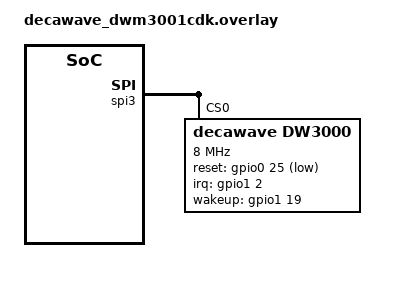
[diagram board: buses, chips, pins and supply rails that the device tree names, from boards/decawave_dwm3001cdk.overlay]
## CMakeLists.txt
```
# Satellite responder (docs/second-anchor.md stage B): the CRED-tier CCC
# ranging engine minus BLE credential auth. It is a lock that is told the
# session keys (`sat join` on the shell) instead of negotiating them, and it
# transmits Response_1 in the slot the phone reserves when the lock advertises
# ULTRAWIDELOCK_NUM_RESPONDERS=2.
#
# Same module set as the lock's ranging half, same standalone layout as
# examples/zephyr/anchor: no sysbuild bootloader, flashed over SWD, never
# updated over the air. ultrawidelock_matter is absent, and ultrawidelock_cred is present only
# as the owner of the image's primitive-provider target: this node never
# authenticates a credential.
cmake_minimum_required(VERSION 3.20.0)

get_filename_component(REPO_ROOT "${CMAKE_CURRENT_LIST_DIR}/../.." ABSOLUTE)

list(APPEND ZEPHYR_EXTRA_MODULES
	"${REPO_ROOT}/modules/ultrawidelock_cred"
	"${REPO_ROOT}/modules/ultrawidelock_uwb"
	"${REPO_ROOT}/modules/ultrawidelock_dw3000"
	"${REPO_ROOT}/modules/ultrawidelock_anchor"
	"${REPO_ROOT}/ports/zephyr")

find_package(Zephyr REQUIRED HINTS $ENV{ZEPHYR_BASE})
project(ultrawidelock_satellite)

# Same guard examples/zephyr/anchor/CMakeLists.txt carries, for the same reason:
# recovering debug access costs a mass erase, and a bench image is exactly the
# kind of thing that would inherit the setting from a stray overlay unnoticed.
if(CONFIG_NRF_APPROTECT_LOCK OR CONFIG_NRF_SECURE_APPROTECT_LOCK)
	message(FATAL_ERROR
		"APPROTECT lock is enabled for this image. Refusing to build.\n"
		"  CONFIG_NRF_APPROTECT_LOCK        = ${CONFIG_NRF_APPROTECT_LOCK}\n"
		"  CONFIG_NRF_SECURE_APPROTECT_LOCK = ${CONFIG_NRF_SECURE_APPROTECT_LOCK}\n"
		"See apps/dwm3001cdk-lock/sysbuild.conf for why these boards never lock.")
endif()

target_sources(app PRIVATE src/main.c)

# main initializes the primitive provider even without Thread, because the UWB
# responder uses it too. The credential module owns exactly one provider TU for
# the image; direct-sourcing the old combined crypto role here duplicated it.
target_link_libraries(app PRIVATE ultrawidelock_prim)
target_include_directories(app PRIVATE
	"${REPO_ROOT}/modules/ultrawidelock_cred/include")

include("${REPO_ROOT}/cmake/ultrawidelock_roles.cmake")

# The sealed link needs Thread. Without it the board still ranges and still
# prints, it simply has nobody to tell.
target_sources_ifdef(CONFIG_OPENTHREAD app PRIVATE src/anchor_link.c)

# The seal and the link decisions are both shared. seal.list is ONE AES-CCM
# envelope; link.list is the one place that decides what to send, what an
# arriving datagram is and whether to believe it -- ONE replay/counter
# implementation -- so this board, the lock and the ESP-NOW carrier cannot
# drift apart about the same bytes. Read here rather than left to the module,
# because this image is ULTRAWIDELOCK_ANCHOR_MSG without ULTRAWIDELOCK_ANCHOR
# -- it encodes a report and fuses nothing -- and the module's copies are gated
# on the ANCHOR tier this node deliberately does not have.
if(CONFIG_OPENTHREAD)
	ultrawidelock_role_sources("${REPO_ROOT}/modules/ultrawidelock_anchor/roles/seal.list" SEAL_SRCS)
	ultrawidelock_role_sources("${REPO_ROOT}/modules/ultrawidelock_anchor/roles/link.list" LINK_SRCS)
	target_sources(app PRIVATE ${SEAL_SRCS} ${LINK_SRCS})
endif()
```

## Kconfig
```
# SPDX-License-Identifier: ISC
#
# Satellite responder options.

config ULTRAWIDELOCK_ANCHOR_ROLE
	int "Which side of the door this anchor is mounted on"
	default 1
	range 1 3
	help
	  1 = inside, 2 = outside, 3 = threshold, matching
	  enum ultrawidelock_witness_role, which the sealed link's role field
	  reuses so one demultiplexer serves every peer on the port.

	  A MOUNTING FACT, and the lock reads it to decide which distance is the
	  inside one. Getting it backwards does not crash and fails no geometry
	  test -- it silently inverts the side verdict, withholding from people
	  indoors and granting to people on the doorstep.

	  Build-time here rather than provisioned: this board is screwed to one
	  side of one door, unlike the interchangeable witnesses it replaces.

source "Kconfig.zephyr"
```

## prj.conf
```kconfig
# Satellite responder: CRED-tier CCC engine, keys injected over the shell.
# The UWB and PSA halves mirror the proven configs: the tier block is the
# lock's (apps/dwm3001cdk-lock), the PSA block is examples/zephyr/nrf5340dk-initiator's
# trimmed to the one primitive the CCC key ladder uses (AES-ECB).
CONFIG_MAIN_STACK_SIZE=8192
CONFIG_SYSTEM_WORKQUEUE_STACK_SIZE=8192
CONFIG_STDOUT_CONSOLE=y

# The M1-M4 codec and the cherry shim allocate via qmalloc -> k_malloc.
CONFIG_HEAP_MEM_POOL_SIZE=8192

# --- UWB: the full responder tier --------------------------------------------
# Unlike the initiator example, this board wants exactly the lock's role: the
# whole CCC/credential session engine (ccc_shim_rx and friends). The keys come
# from `sat join` instead of BLE, through the same ultrawidelock_uwb_start_cred()
# entry the credential M4 uses.
CONFIG_ULTRAWIDELOCK_UWB=y
CONFIG_ULTRAWIDELOCK_UWB_RESPONDER=y
CONFIG_ULTRAWIDELOCK_CRED=y

# Stage B re-run: this build is responder 1 of a 2-responder round, answering
# Response_1 in slot 3. The first attempt concluded the phone would not report a
# second responder, but that run was made with a 64-byte SP0 stash against a
# 65-byte two-record Final_Data, so any block where the phone DID report both
# was discarded before the decode. Both values must match the lock image or the
# RangingConfiguration SaltedHash diverges and nothing decodes.
CONFIG_ULTRAWIDELOCK_NUM_RESPONDERS=2
CONFIG_ULTRAWIDELOCK_RESPONDER_INDEX=1

# Mandatory here, not optional: on a silent block this anchor has no Response TX
# timestamp for the round, and the live-recompute path (the dual-core nRF5340
# default) would pair a stale t3 with this round's t2/t6 and latch a garbage
# distance, resetting the layer-4 trust run every second block. The snapshot
# path is consume-once and fails closed instead, which is exactly what
# alternation needs — and is the path the lock has always run.
CONFIG_ULTRAWIDELOCK_UWB_FINAL_SNAPSHOT=y

# The `ultrawidelock` console drives the driver, which is not brought up until the
# first `sat join`; keep it out the way the CDK does.
CONFIG_ULTRAWIDELOCK_UWB_SHELL=n

# DW3110 on the DWM3000EVB is the DW3000 branch; same lines and reasons as
# examples/zephyr/nrf5340dk-initiator/prj.conf:45-59.
CONFIG_DW3000=y
CONFIG_DW3000_CHIP_DW3000=y
CONFIG_SPI_ASYNC=y

CONFIG_LOG=y
CONFIG_LOG_MODE_DEFERRED=y
CONFIG_LOG_BUFFER_SIZE=4096

# Measurement output must not share a wire with the shell. The board default
# puts zephyr,console and zephyr,shell-uart both on uart0, and the shell redraws
# its prompt around every asynchronous write. Grepping fragments out of that was
# survivable for a yes/no answer like stage B's nresp=2, but not for a line that
# has to parse whole -- "pair sid=7e 206 cm (gNALDATA-2RE" is two different lines
# wearing each other's bytes, and no parser recovers that.
#
# CONFIG_RTT_CONSOLE is NOT the answer, though it looks like it and builds
# cleanly. printk cannot be steered away here at all: the shell's serial
# backend installs itself as the printk hook, so printk follows the shell to the
# UART no matter what zephyr,console says. Setting RTT_CONSOLE looked correct,
# built correctly, and changed nothing -- the pair lines stayed on the UART,
# still interleaved with the prompt.
#
# The LOGGING subsystem has its own backend, independent of both. So the
# measurement line goes through LOG_INF to RTT, the shell keeps the UART for
# `sat join`, and neither writes over the other.
CONFIG_USE_SEGGER_RTT=y
CONFIG_LOG_BACKEND_RTT=y
# Otherwise the same records also go out through the shell, back onto the UART,
# which is the interleaving this is meant to escape.
CONFIG_SHELL_LOG_BACKEND=n

# Key injection happens on the UART shell (DK VCOM): paste the SAT-HANDOFF
# line the lock prints. First light stays on this wire so radio coexistence
# cannot masquerade as protocol failure (docs/second-anchor.md, risks).
CONFIG_SHELL=y

# HERE, not in overlay-thread.conf, because the command that needs it exists in
# both builds. `sat dataset` overflows the default 2 KB shell stack and takes
# the board down with "ZEPHYR FATAL ERROR 2: Stack overflow ... Current thread:
# shell_uart" (or shell_rtt). It is stack-hungry by nature: a 254-byte buffer in
# the handler, a ~255-byte otOperationalDatasetTlvs below it, then the whole
# OpenThread start path on top. Living only in the Thread overlay left the plain
# build still crashing on the identical command.
CONFIG_SHELL_STACK_SIZE=8192

# A pasted `sat dataset` line is 226 characters and the RX ring defaults to 64,
# so the line arrives truncated and the shell reports a parameter-count error
# against a command nobody typed. The Thread overlay raises RTT's down-buffer
# for the same reason; both transports need their own landing pad.
CONFIG_SHELL_BACKEND_SERIAL_RX_RING_BUFFER_SIZE=512

# The sealed link: the WV3 codec (no picker, no witness ingest -- see
# ULTRAWIDELOCK_ANCHOR_MSG) plus somewhere to keep the link key across a reflash.
CONFIG_ULTRAWIDELOCK_ANCHOR_MSG=y
CONFIG_SETTINGS=y
CONFIG_SETTINGS_NVS=y
CONFIG_NVS=y
CONFIG_FLASH=y
CONFIG_FLASH_MAP=y

# --- PSA crypto ---------------------------------------------------------------
CONFIG_NRF_SECURITY=y
CONFIG_MBEDTLS_PSA_CRYPTO_C=y

# PSA working buffers come from the mbedTLS heap; without it psa_import_key
# fails with -141 (PSA_ERROR_INSUFFICIENT_MEMORY).
CONFIG_MBEDTLS_ENABLE_HEAP=y
CONFIG_MBEDTLS_HEAP_SIZE=16384

# The CCC key schedule reaches AES-ECB through the shared primitive provider.
# Without ECB_NO_PADDING it fails
# at RUNTIME with NOT_SUPPORTED, not at build (initiator prj.conf:126-132).
CONFIG_PSA_WANT_KEY_TYPE_AES=y
CONFIG_PSA_WANT_ALG_ECB_NO_PADDING=y
CONFIG_PSA_WANT_GENERATE_RANDOM=y
```

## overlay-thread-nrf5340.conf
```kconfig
# nRF5340-only Thread settings, layered on overlay-thread.conf by
# mk/satellite.mk when SAT_BOARD names that board. Split out for stage E
# (docs/second-anchor.md): the satellite now also builds for the DWM3001CDK,
# and both lines below describe a two-core part, so on the CDK's single-core
# nRF52833 they configure a radio peer that does not exist.
#
# This file is the app-core half. The net-core image itself is the other half,
# selected by sysbuild-thread.conf, and the two are passed together or not at
# all -- a serialisation host with no controller behind it comes up cleanly and
# then never sees a frame, which is the failure that reads as a dead radio.
#
# The nRF5340's 802.15.4 radio lives on the NETWORK core, unlike the
# DWM3001CDK's nRF52833 where it is on-core. The app core reaches it through
# the serialisation host.
CONFIG_NRF_802154_SER_HOST=y
```

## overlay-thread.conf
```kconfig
# Thread on the satellite, so its ranges can reach the lock over the sealed
# link. OPT-IN, via `make sat-build SAT_THREAD=1`, and deliberately so: the
# ranging arm margin measured without it is the number this config has to be
# judged against, and that comparison is impossible if there is only one build.
#
# STANDALONE OpenThread, mirroring apps/dwm3001cdk-lock/overlay-thread.conf: no
# NET_L2_OPENTHREAD, so no NETWORKING, no NET_IPV6, no NET_UDP and no
# NET_SOCKETS. witness_link.c already talks to otUdpOpen/otUdpBind directly, so
# the L2 would be carrying a Zephyr socket API nothing on this path uses.
CONFIG_OPENTHREAD=y
CONFIG_OPENTHREAD_MTD=y
CONFIG_OPENTHREAD_MANUAL_START=y

# MED, not SED. CONFIG_OPENTHREAD_MTD_SED is deliberately NOT set.
#
# CORRECTED 2026-08-21: an earlier version of this comment argued a 500 ms poll
# period would land every report three blocks late. That is wrong, and the
# reasoning was borrowed from the retired BLE witness anyway. A sleepy child's
# poll period gates DOWNLINK -- when it collects what its parent is holding for
# it -- and a sleepy child transmits uplink whenever it likes. Reports would not
# have been delayed by it at all.
#
# MED is still the right choice, for the smaller reason: anything the LOCK ever
# needs to send this board -- a challenge, a rekey, the session handoff once it
# moves off the UART -- waits a poll period on an SED. This board is
# mains-powered and has no BLE duty to schedule around, so there is nothing to
# buy with the sleep.

# WHERE THE RADIO IS is the one Thread setting that does NOT belong in this
# file, and it used to live here (CONFIG_NRF_802154_SER_HOST=y, plus the
# net-core image in sysbuild-thread.conf). The nRF5340 is two cores and reaches
# its 802.15.4 radio through the serialisation host; the DWM3001CDK's nRF52833
# is one core with the radio on it, and the serialisation host there is a driver
# for a peer that does not exist. Both moved to overlay-thread-nrf5340.conf,
# which mk/satellite.mk layers on top of this file for that board only. The CDK
# needs no fragment of its own -- everything above is what it wants already,
# which is the same standalone-OpenThread config apps/dwm3001cdk-lock runs on
# this exact part.
#
# Everything in THIS file must hold for every board the satellite is built for.
# A board-specific line here is one the other board silently inherits.

# OpenThread's own thread plus the workqueue it defers onto. Same sizes the
# lock runs, which is the only place these have been exercised.
CONFIG_OPENTHREAD_THREAD_STACK_SIZE=4096
CONFIG_SYSTEM_WORKQUEUE_STACK_SIZE=8192
CONFIG_MAIN_STACK_SIZE=8192

# The shell STAYS. Unlike the lock, this board still needs `sat join` to receive
# its session keys, and until the handoff itself moves onto the sealed link a
# console is the only way they arrive.
#
# RTT IS ADDED, THE UART IS NOT REMOVED. An earlier version of this file set
# CONFIG_SHELL_BACKEND_SERIAL=n, which is why the UART then looked dead: it was
# dead, by configuration, and this comment blamed the board for it. The two
# backends are independent bools, not a choice, so both run.
#
# Why RTT is here at all: it is the transport that still prints a fault dump
# when the shell thread itself is what died. Two real defects that day -- an
# OpenThread mutex deadlock and a shell stack overflow -- both present as "the
# console stopped answering", and with CONFIG_SHELL_LOG_BACKEND=y every log
# record rides the shell, so a dead shell thread silences the board on whatever
# single transport it owns. Two backends means one can report the other's death.
#
# WHAT IS NOT TRUE, corrected the same day: hardware flow control was blamed for
# the silence. Flow control is OFF on this board, both ends. The board DTS sets
# no `hw-flow-control` on &uart0, so the driver runs NRF_UARTE_HWFC_DISABLED and
# the UARTE ignores CTS entirely; all pinctrl leaves behind is RTS on P0.19
# driven high once at init, which is harmless. Board TX was never gated. The
# apps/nrf5340dk-lock Matter image drives the identical peripheral and pins with
# no console overlay at all and its shell works, which settles it.
CONFIG_SHELL_BACKEND_SERIAL=y
CONFIG_SHELL_BACKEND_RTT=y
CONFIG_SHELL_LOG_BACKEND=y
CONFIG_LOG_BACKEND_RTT=n
# The default 10 ms poll is what makes an RTT shell feel like a dead one.
CONFIG_SHELL_RTT_RX_POLL_PERIOD=10
# Landing pads for a pasted line, and they must move together.
#
# A `sat dataset` command is 226 characters. The RTT down-buffer defaults to 16
# bytes and DROPS the overflow rather than blocking, so the line arrived as its
# first three characters and the shell reported a parameter-count error against
# a command nobody typed. The UART's RX ring defaults to 64 and fails the same
# way -- fixing only one transport just moves the bug to the other one.
CONFIG_SEGGER_RTT_BUFFER_SIZE_DOWN=512
CONFIG_SHELL_BACKEND_SERIAL_RX_RING_BUFFER_SIZE=512
```

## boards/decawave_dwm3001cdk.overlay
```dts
/*
 * DWM3001CDK satellite — board overlay.
 *
 * The DW3110 is already wired inside the DWM3001C module and &spi3 is enabled by
 * the board with CS on P1.06; only the side-band GPIOs are ours to add. Values
 * are identical to examples/zephyr/anchor/boards/decawave_dwm3001cdk.overlay,
 * which is identical in turn to apps/dwm3001cdk-lock/boards/ — the copy that has
 * been on hardware:
 *   SCK P0.03 - MOSI P0.08 - MISO P0.29 - CS P1.06
 *   IRQ P1.02 - RESETn P0.25 - WAKEUP P1.19
 *
 * Copied rather than #included, for the reason the anchor's copy gives: these
 * apps have different lifetimes, and one silently inheriting another's pin map
 * is how a wiring change reaches some of them and not the rest. The body below
 * is byte-identical to the anchor's, so `diff` against that file is the audit.
 *
 * Only the SPI side is here, matching the satellite's nRF5340 overlay: this app
 * drives no LEDs, no NFC and no buttons. Everything else the port needs is
 * Kconfig (docs/second-anchor.md stage E).
 */

&spi3 {
	dw3000: dw3000@0 {
		compatible = "decawave,dw3000";
		reg = <0>;
		/* 8 MHz, matching the proven value on both boards. Raise only with
		 * a DEV_ID read loop as evidence. */
		spi-max-frequency = <8000000>;
		reset-gpios  = <&gpio0 25 GPIO_ACTIVE_LOW>;
		irq-gpios    = <&gpio1  2 GPIO_ACTIVE_HIGH>;
		wakeup-gpios = <&gpio1 19 GPIO_ACTIVE_HIGH>;
	};
};

&gpio1 {
	status = "okay";
};
```

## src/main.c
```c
/* SPDX-License-Identifier: ISC */

/*
 * Satellite responder (docs/second-anchor.md stage B).
 *
 * The whole ranging engine is the module's: ultrawidelock_uwb_start_cred() brings up
 * the radio, stands up the permanent Pre-POLL listen, and runs the responder
 * round from there (pre-poll recovery means no time sync is needed — the
 * first decrypted Pre-POLL carries Poll_STS_Index). This file only supplies
 * what BLE negotiation supplies on the lock: the session keys and PHY, pasted
 * from the lock's SAT-HANDOFF log line:
 *
 *   sat join <ursk-hex64> <rcfg-hex34> <channel> <sync-code>
 *
 * Everything else the engine needs is inside rcfg[17]: session id (bytes
 * 4..7), STS_Index0 (8..11), responder count (12), RAN multiplier (13),
 * slots per round (14), chaps per slot (15).
 */

#include <stdint.h>
#include <stdlib.h>
#include <string.h>

#include <zephyr/kernel.h>
#include <zephyr/shell/shell.h>
#include <zephyr/logging/log.h>
#include <zephyr/sys/util.h>
#if defined(CONFIG_OPENTHREAD)
#include "anchor_link.h"
#endif
#include <zephyr/sys/printk.h>

#include <ultrawidelock/uwb.h>

#include "ultrawidelock_prim.h"

/* Ahead of every LOG_* in this file, which is where Zephyr requires it. */
LOG_MODULE_REGISTER(sat, LOG_LEVEL_INF);

#define SAT_URSK_LEN 32u
#define SAT_RCFG_LEN 17u

/* The cfg struct keeps pointers, and the engine reads the URSK again on every
 * Pre-POLL decode, so both live for the session, not the shell command. */
static uint8_t s_ursk[SAT_URSK_LEN];
static uint8_t s_rcfg[SAT_RCFG_LEN];

static int hex_nibble(char c)
{
	if (c >= '0' && c <= '9') {
		return c - '0';
	}
	if (c >= 'a' && c <= 'f') {
		return c - 'a' + 10;
	}
	if (c >= 'A' && c <= 'F') {
		return c - 'A' + 10;
	}
	return -1;
}

/** @brief Parse exactly 2*len hex chars into out; -1 on bad length or char. */
static int hex_parse(const char *s, uint8_t *out, size_t len)
{
	if (strlen(s) != 2u * len) {
		return -1;
	}
	for (size_t i = 0; i < len; i++) {
		int hi = hex_nibble(s[2 * i]);
		int lo = hex_nibble(s[2 * i + 1]);

		if (hi < 0 || lo < 0) {
			return -1;
		}
		out[i] = (uint8_t)((hi << 4) | lo);
	}
	return 0;
}

/**
 * Join a session from raw parameters, whatever delivered them.
 *
 * Shared by the shell and the sealed link so the two cannot drift: the link is
 * meant to REPLACE the typed command, and a join that behaved differently
 * depending on how it arrived would make bench results say nothing about the
 * wireless path. Everything above this is transport; everything below is
 * identical.
 *
 * @param sid_out session id actually configured, for the caller's log.
 * @return 0, or negative with @p why set to a caller-printable reason.
 */
static int sat_join_apply(const uint8_t *ursk, const uint8_t *rcfg, uint8_t channel,
			  uint8_t sync_code_index, uint32_t *sid_out, const char **why)
{
	struct ultrawidelock_uwb_cred_cfg cfg = {0};
	int rc;

	/* rcfg[12] is the responder count baked into the SaltedHash. If it does
	 * not match this build, every derived STS diverges and nothing decodes —
	 * refuse loudly instead of listening to silence. */
	if (rcfg[12] != CONFIG_ULTRAWIDELOCK_NUM_RESPONDERS) {
		*why = "rcfg responder count disagrees with this build";
		return -EINVAL;
	}

	if (ursk != s_ursk) {
		memcpy(s_ursk, ursk, SAT_URSK_LEN);
	}
	if (rcfg != s_rcfg) {
		memcpy(s_rcfg, rcfg, SAT_RCFG_LEN);
	}

	cfg.session_id = ((uint32_t)s_rcfg[4] << 24) | ((uint32_t)s_rcfg[5] << 16) |
			 ((uint32_t)s_rcfg[6] << 8) | s_rcfg[7];
	cfg.sts_index0 = ((uint32_t)s_rcfg[8] << 24) | ((uint32_t)s_rcfg[9] << 16) |
			 ((uint32_t)s_rcfg[10] << 8) | s_rcfg[11];
	cfg.block_duration_ms = (uint32_t)s_rcfg[13] * 96u;
	cfg.slot_per_round = s_rcfg[14];
	cfg.slot_duration_rstu = (uint16_t)(s_rcfg[15] * 400u);
	cfg.channel = channel;
	cfg.sync_code_index = sync_code_index;
	cfg.ursk = s_ursk;
	cfg.ranging_config = s_rcfg;
	cfg.rc_len = SAT_RCFG_LEN;

	/* Re-join is the normal case (a new session per walk-up); tear the old
	 * listen down first. A never-started stop is a no-op. */
	ultrawidelock_uwb_stop();
	rc = ultrawidelock_uwb_start_cred(&cfg);
	if (rc != 0) {
		*why = "start_cred refused the configuration";
		return rc;
	}
	if (sid_out != NULL) {
		*sid_out = cfg.session_id;
	}
	return 0;
}

#if defined(CONFIG_OPENTHREAD)
/* The sealed handoff arrived and unsealed. Runs on the OpenThread RX thread. */
static void on_link_join(const uint8_t *ursk, const uint8_t *rcfg, uint8_t channel,
			 uint8_t sync_code_index)
{
	const char *why = "";
	uint32_t sid = 0u;

	if (sat_join_apply(ursk, rcfg, channel, sync_code_index, &sid, &why) != 0) {
		LOG_WRN("sealed handoff rejected: %s", why);
		return;
	}
	LOG_INF("SAT joined from the sealed link sid=0x%08x ch=%u code=%u", sid, channel,
		sync_code_index);
}
#endif

static int cmd_sat_join(const struct shell *sh, size_t argc, char **argv)
{
	const char *why = "";
	uint32_t sid = 0u;
	uint8_t channel;
	uint8_t code;
	int rc;

	ARG_UNUSED(argc);
	if (hex_parse(argv[1], s_ursk, SAT_URSK_LEN) != 0) {
		shell_error(sh, "ursk: want %u hex chars", 2u * SAT_URSK_LEN);
		return -EINVAL;
	}
	if (hex_parse(argv[2], s_rcfg, SAT_RCFG_LEN) != 0) {
		shell_error(sh, "rcfg: want %u hex chars", 2u * SAT_RCFG_LEN);
		return -EINVAL;
	}
	channel = (uint8_t)strtoul(argv[3], NULL, 10);
	code = (uint8_t)strtoul(argv[4], NULL, 10);

	rc = sat_join_apply(s_ursk, s_rcfg, channel, code, &sid, &why);
	if (rc != 0) {
		shell_error(sh, "%s (rc=%d)", why, rc);
		return rc;
	}
	shell_print(sh, "SAT joined sid=0x%08x ch=%u code=%u resp=%u/%u", sid, channel, code,
		    CONFIG_ULTRAWIDELOCK_RESPONDER_INDEX, CONFIG_ULTRAWIDELOCK_NUM_RESPONDERS);
	return 0;
}

static int cmd_sat_stop(const struct shell *sh, size_t argc, char **argv)
{
	ARG_UNUSED(argc);
	ARG_UNUSED(argv);
	ultrawidelock_uwb_stop();
	shell_print(sh, "SAT stopped");
	return 0;
}

#if defined(CONFIG_OPENTHREAD)
/*
 * The link key. Typed here rather than baked in, because a key in the image is
 * a key in the repository -- and it must match the lock's `anckey` byte for
 * byte or every report is discarded as unopenable, which at the lock looks
 * exactly like an anchor that never booted.
 */
static int cmd_sat_key(const struct shell *sh, size_t argc, char **argv)
{
	uint8_t key[16];
	size_t hex_len;
	int rc;

	ARG_UNUSED(argc);

	hex_len = strlen(argv[1]);
	if (hex_len != 2u * sizeof(key) ||
	    hex2bin(argv[1], hex_len, key, sizeof(key)) != sizeof(key)) {
		shell_error(sh, "key must be exactly %u hex characters",
			    (unsigned)(2u * sizeof(key)));
		return -EINVAL;
	}
	rc = anchor_link_set_key(key, sizeof(key));
	if (rc != 0) {
		shell_error(sh, "storing the key rc=%d", rc);
		return rc;
	}
	shell_print(sh, "stored; reports %s",
		    anchor_link_ready() ? "will be sent" : "wait for the Thread link");
	return 0;
}
#endif

#if defined(CONFIG_OPENTHREAD)
/* The lock's Active Operational Dataset, as raw TLV hex. Mesh membership only:
 * this board joins no Matter fabric and does not need one to send UDP. */
static int cmd_sat_dataset(const struct shell *sh, size_t argc, char **argv)
{
	uint8_t tlvs[254];
	size_t hex_len;
	size_t n;
	int rc;

	ARG_UNUSED(argc);

	hex_len = strlen(argv[1]);
	if ((hex_len % 2u) != 0u || hex_len / 2u > sizeof(tlvs)) {
		shell_error(sh, "dataset must be an even number of hex chars, <= %u bytes",
			    (unsigned)sizeof(tlvs));
		return -EINVAL;
	}
	n = hex2bin(argv[1], hex_len, tlvs, sizeof(tlvs));
	if (n != hex_len / 2u) {
		shell_error(sh, "not hex");
		return -EINVAL;
	}
	rc = anchor_link_set_dataset(tlvs, n);
	if (rc != 0) {
		shell_error(sh, "dataset rejected rc=%d", rc);
		return rc;
	}
	shell_print(sh, "dataset set (%u B); attaching", (unsigned)n);
	return 0;
}

/* One line, because three separate things have to be true before a single
 * report can reach the lock and they fail in ways that look identical. */
static int cmd_sat_link(const struct shell *sh, size_t argc, char **argv)
{
	ARG_UNUSED(argc);
	ARG_UNUSED(argv);

	shell_print(sh, "key %s | thread %s | socket %s",
		    anchor_link_ready() ? "yes" : "NO",
		    anchor_link_attached() ? "attached" : "NOT attached",
		    anchor_link_ready() ? "open" : "check");
	return 0;
}
#endif

SHELL_STATIC_SUBCMD_SET_CREATE(sat_cmds,
	SHELL_CMD_ARG(join, NULL, "join <ursk-hex64> <rcfg-hex34> <channel> <sync-code>",
		      cmd_sat_join, 5, 0),
	SHELL_CMD_ARG(stop, NULL, "stop ranging and quiesce the radio", cmd_sat_stop, 1, 0),
#if defined(CONFIG_OPENTHREAD)
	SHELL_CMD_ARG(key, NULL, "set the sealed-link key: `key <hex32>` (same bytes as the "
		      "lock's `anckey`)", cmd_sat_key, 2, 0),
	SHELL_CMD_ARG(dataset, NULL, "join the lock's Thread network: `dataset <tlv-hex>`",
		      cmd_sat_dataset, 2, 0),
	SHELL_CMD_ARG(link, NULL, "sealed-link status", cmd_sat_link, 1, 0),
#endif
	SHELL_SUBCMD_SET_END);
SHELL_CMD_REGISTER(sat, &sat_cmds, "satellite responder (stage B)", NULL);

int main(void)
{
	int rc = ultrawidelock_prim_init();

	if (rc != 0) {
		printk("SAT crypto provider init failed (%d)\n", rc);
		return 0;
	}
#if defined(CONFIG_OPENTHREAD)
	/* Before the socket opens, so a handoff cannot arrive with the sink
	 * still unset -- the lock sends one at every session start. */
	anchor_link_set_join_cb(on_link_join);
	/* After provider init: the link cannot seal if it opens first. */
	anchor_link_init();
#endif
	printk("SAT satellite responder %u/%u — waiting for a sealed handoff\n",
	       CONFIG_ULTRAWIDELOCK_RESPONDER_INDEX, CONFIG_ULTRAWIDELOCK_NUM_RESPONDERS);

	/* Range reporter: the engine's own logs are budgeted per session, so
	 * poll the generation counter and print every latched range — this line
	 * against the tape is stage B's second pass criterion. */
	uint32_t last_gen = ultrawidelock_uwb_range_generation();

	for (;;) {
		uint32_t gen = ultrawidelock_uwb_range_generation();
		int32_t cm;

		if (gen != last_gen && ultrawidelock_uwb_last_range_cm(&cm)) {
			uint32_t blk = 0u;

			/* Same line the lock prints, so the two captures can be
			 * JOINED ON BLOCK afterwards and subtracted at an instant
			 * where the true difference is known. Deliberately here in
			 * the main loop and not in the ranging callback: the
			 * per-frame trace is throttled per BOOT, so it stops after
			 * the first few blocks and never overlaps the other
			 * anchor's capture. This one prints for every range. */
			if (ultrawidelock_uwb_trusted_range_block_cm(&cm, &blk)) {
				/* LOG_INF, not printk. The shell's serial backend
				 * installs itself as the printk hook, so printk
				 * lands on the UART it shares with the prompt --
				 * which shreds the line -- regardless of what
				 * zephyr,console is set to. The logging subsystem
				 * has its own backend, so this reaches RTT intact
				 * while `sat join` keeps arriving on the UART. */
				LOG_INF("pair sid=%08x blk=%u mm=%d",
					(unsigned)ultrawidelock_uwb_session_id(),
					(unsigned)blk, (int)(cm * 10));
#if defined(CONFIG_OPENTHREAD)
				/* The report the lock actually acts on. The log
				 * line above stays: it is what the bench joins
				 * against the lock's, and it keeps working when
				 * the link is down. */
				anchor_link_report(cm * 10, blk);
#endif
			}
			last_gen = gen;
			printk("SAT range %d cm (gen %u)\n", (int)cm, (unsigned)gen);
		}
		k_sleep(K_MSEC(200));
	}
	return 0;
}
```

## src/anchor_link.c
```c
/* SPDX-License-Identifier: ISC */

/**
 * @file anchor_link.c — the satellite's half of the sealed link.
 *
 * Sends one WV3 report per accepted range: this anchor's own measured distance
 * to the phone, and the ranging block it was measured in. Same link, same seal
 * and same port as the lock's other peers; the version byte is what tells them
 * apart, so nothing here needs to know about any other message family.
 *
 * The block is not decoration. A distance without the round it belongs to
 * cannot be paired with the lock's own -- the two anchors only mean something
 * together if they are describing the same instant, and the block is the one
 * exact integer both of them read off the initiator's own frames.
 *
 * SENDING IS UNCONDITIONAL AND CARRIES NO AUTHORITY. Every rule that matters is
 * enforced at the lock: the seal proves the key, the counter catches replay,
 * the block decides what this pairs with, and the fusion gate decides what the
 * pair means. A satellite that lies, floods or goes silent costs a passive
 * unlock; it cannot cause one.
 */

#include <string.h>

#include <zephyr/kernel.h>
#include <zephyr/logging/log.h>
#include <zephyr/random/random.h>

/*
 * The bring-up half only. Moving bytes is ultrawidelock_dgram.h's job now, but
 * starting the mesh is not: a dataset, a device role and otIp6SetEnabled are
 * OpenThread's own lifecycle, they have no counterpart on a transport that is
 * not Thread, and inventing a seam over them would be inventing one nothing
 * else needs. So the socket calls left this file and the stack calls did not.
 */
#include <openthread/dataset.h>
#include <openthread/instance.h>
#include <openthread/ip6.h>
#include <openthread/thread.h>
#include <zephyr/net/openthread.h>

#include "anchor_link.h"
#include "ultrawidelock_dgram.h"
#include "ultrawidelock_kv.h"
#include "ultrawidelock_link.h"

LOG_MODULE_REGISTER(anclink, LOG_LEVEL_INF);

#define KEY_LEN     ULTRAWIDELOCK_SEAL_KEY_LEN
#define ANCHOR_PORT CONFIG_ULTRAWIDELOCK_WITNESS_PORT

/* Carrier-free WV3/WV4 state. This file owns only Thread lifecycle, durable
 * storage and callback dispatch now. */
static struct ultrawidelock_link s_link;
static anchor_link_join_cb s_join_cb;

/**
 * Two different things arrive on this socket.
 *
 * A 9- or 12-byte CHALLENGE is unauthenticated on purpose -- a freshness beacon, not a
 * command; echoing the wrong one costs a report its standing and nothing more.
 * A sealed HANDOFF is the opposite: it carries a key and this board acts on it,
 * so it must prove the link key and clear the replay window first.
 */
static void link_rx(void *ctx, const uint8_t *body, size_t len)
{
	struct ultrawidelock_join_msg jm = {0};
	enum ultrawidelock_link_rx rx;

	ARG_UNUSED(ctx);
	rx = ultrawidelock_link_consume(&s_link, body, len, NULL,
					 s_join_cb != NULL ? &jm : NULL);
	if (rx == ULTRAWIDELOCK_LINK_RX_REPLAYED) {
		LOG_WRN("handoff replayed or stale (ctr %u); ignored", (unsigned)jm.ctr);
		memset(&jm, 0, sizeof(jm));
		return;
	}
	if (rx == ULTRAWIDELOCK_LINK_RX_JOIN) {
		s_join_cb(jm.ursk, jm.rcfg, jm.channel, jm.sync_code_index);
	}
	/* The URSK lives on inside the ranging engine; this copy must not. */
	memset(&jm, 0, sizeof(jm));
}

void anchor_link_set_join_cb(anchor_link_join_cb cb)
{
	s_join_cb = cb;
}

void anchor_link_report(int32_t peer_mm, uint32_t ranging_block)
{
	uint8_t sealed[ULTRAWIDELOCK_LINK_MAX_FRAME];
	size_t sealed_len;

	if (!ultrawidelock_dgram_ready() || !ultrawidelock_link_ready(&s_link) || peer_mm < 0) {
		return;
	}
	sealed_len = ultrawidelock_link_build_report(&s_link, peer_mm, ranging_block, sealed,
						      sizeof(sealed));
	if (sealed_len == 0u) {
		return;
	}

	/*
	 * To the group, matching the witness link's reasoning: this board is
	 * never told the lock's address, so replacing the lock or letting its
	 * address change costs no re-provisioning. Only a holder of the link key
	 * can produce a report, so the broadcast costs a frame and reveals a
	 * distance to nobody who could not already measure one.
	 *
	 * Runs on the app thread out of the ranging loop in main.c, not in the
	 * receive callback, so the transport may take its lock. That rule is
	 * ultrawidelock_dgram.h's to state now; it used to be a paragraph here
	 * and another one in the witness link, saying the same thing twice.
	 */
	(void)ultrawidelock_dgram_send(sealed, sealed_len);
}

/**
 * Bring the mesh up on an instance that already holds a dataset.
 *
 * Split out because it is needed twice for different reasons: once when the
 * dataset is typed in, and once at every boot after that. CONFIG_OPENTHREAD_
 * MANUAL_START means nothing starts Thread on its own here, so without the
 * second call the stored dataset is inert and `sat dataset` would have to be
 * retyped after every reset.
 *
 * MUST BE CALLED WITH THE OPENTHREAD MUTEX RELEASED. openthread_run() takes it
 * itself -- the same rule ports/zephyr/matter/matter_thread_port.c:136 spells
 * out. Calling otIp6SetEnabled()/otThreadSetEnabled() under the lock instead
 * deadlocks the caller, and on the shell thread that is indistinguishable from
 * a dead console: the command never returns, the prompt never comes back, and
 * the board looks bricked until it is reset. Cost an hour on 2026-08-21, twice,
 * because the same silence also has a plausible transport explanation.
 */
static int thread_bring_up(void)
{
	return openthread_run();
}

/* Role transitions on the log, because the shell is not always reachable and an
 * anchor that never attaches looks exactly like one that attached and had
 * nothing to say. */
static void role_changed(otChangedFlags flags, void *ctx)
{
	ARG_UNUSED(ctx);

	if ((flags & OT_CHANGED_THREAD_ROLE) == 0u) {
		return;
	}
	LOG_INF("thread role now %d (2=child 3=router 4=leader)",
		(int)otThreadGetDeviceRole(openthread_get_default_instance()));
}

int anchor_link_set_dataset(const uint8_t *tlvs, size_t len)
{
	otInstance *ot = openthread_get_default_instance();
	otOperationalDatasetTlvs ds;
	otError err;

	if (tlvs == NULL || len == 0u || len > sizeof(ds.mTlvs)) {
		return -EINVAL;
	}
	if (ot == NULL) {
		return -ENODEV;
	}

	memset(&ds, 0, sizeof(ds));
	memcpy(ds.mTlvs, tlvs, len);
	ds.mLength = (uint8_t)len;

	/*
	 * The satellite joins the SAME Thread network the lock is on. It is not
	 * a Matter device and joins no fabric: a fabric governs who may invoke
	 * clusters, and this board only needs IPv6 to a peer on the mesh, which
	 * mesh membership alone provides.
	 *
	 * The dataset is typed in rather than commissioned because there is no
	 * commissioner here to talk to, and it is persisted by OpenThread itself
	 * so a reflash without --erase keeps it.
	 */
	openthread_mutex_lock();
	err = otDatasetSetActiveTlvs(ot, &ds);
	openthread_mutex_unlock();

	if (err != OT_ERROR_NONE) {
		LOG_WRN("dataset rejected (ot err %d)", (int)err);
		return -EIO;
	}
	/* Outside the lock. See thread_bring_up(). */
	if (thread_bring_up() != 0) {
		LOG_WRN("dataset stored but OpenThread refused to start");
		return -EIO;
	}
	LOG_INF("dataset accepted (%u B); attaching", (unsigned)len);
	return 0;
}

bool anchor_link_attached(void)
{
	otInstance *ot = openthread_get_default_instance();
	otDeviceRole role;

	if (ot == NULL) {
		return false;
	}
	openthread_mutex_lock();
	role = otThreadGetDeviceRole(ot);
	openthread_mutex_unlock();
	return role == OT_DEVICE_ROLE_CHILD || role == OT_DEVICE_ROLE_ROUTER ||
	       role == OT_DEVICE_ROLE_LEADER;
}

int anchor_link_set_key(const uint8_t *key, size_t len)
{
	int rc;

	if (key == NULL || len != KEY_LEN) {
		return -EINVAL;
	}
	rc = ultrawidelock_kv_set(ULTRAWIDELOCK_KV_KEY_LINK_SATELLITE_KEY, key, len);
	if (rc != 0) {
		return rc;
	}
	return ultrawidelock_link_set_key(&s_link, key, len) == 0 ? 0 : -EINVAL;
}

bool anchor_link_ready(void)
{
	return ultrawidelock_dgram_ready() && ultrawidelock_link_ready(&s_link);
}

void anchor_link_init(void)
{
	otInstance *ot;
	bool commissioned;
	uint8_t key[KEY_LEN];
	size_t key_len = sizeof(key);
	uint32_t boot_id;

	/* Never zero: a zero boot_id is what an uninitialised variable looks
	 * like, and the lock treats a change of boot_id as permission to accept
	 * a counter that went backwards. */
	do {
		boot_id = sys_rand32_get();
	} while (boot_id == 0u);
	ultrawidelock_link_init(&s_link, (uint8_t)CONFIG_ULTRAWIDELOCK_ANCHOR_ROLE, boot_id);

	if (ultrawidelock_kv_init() == ULTRAWIDELOCK_KV_OK &&
	    ultrawidelock_kv_get(ULTRAWIDELOCK_KV_KEY_LINK_SATELLITE_KEY, key, &key_len) ==
		    ULTRAWIDELOCK_KV_OK) {
		(void)ultrawidelock_link_set_key(&s_link, key, key_len);
	}
	memset(key, 0, sizeof(key));

	ot = openthread_get_default_instance();
	if (ot == NULL) {
		LOG_WRN("no Thread instance; anchor reports will not be sent");
		return;
	}
	/*
	 * Outside the OpenThread lock, and it has to be: the transport takes that
	 * lock itself, and taking it here first would be the caller holding it
	 * twice. This is the shape the seam asks for -- a consumer that has no
	 * lock of its own to interleave.
	 */
	(void)ultrawidelock_dgram_open(ANCHOR_PORT, link_rx, NULL);

	openthread_mutex_lock();
	(void)otSetStateChangedCallback(ot, role_changed, NULL);
	commissioned = otDatasetIsCommissioned(ot);
	openthread_mutex_unlock();

	/*
	 * A dataset typed in on an earlier boot is persisted by OpenThread but
	 * does not start anything: CONFIG_OPENTHREAD_MANUAL_START leaves the
	 * stack down until something asks. Ask here, so the mesh comes back by
	 * itself after a reset or a reflash and the dataset is typed in exactly
	 * once in this board's life.
	 *
	 * Outside the lock, which is released just above. See thread_bring_up().
	 */
	if (commissioned) {
		LOG_INF("stored dataset found; bringing the mesh up (rc %d)",
			thread_bring_up());
	} else {
		LOG_WRN("no Thread dataset; run `sat dataset <tlv-hex>`");
	}

	if (!ultrawidelock_dgram_ready()) {
		LOG_WRN("anchor link did not open");
	} else if (!ultrawidelock_link_ready(&s_link)) {
		/* Loud, because it fails closed and silently otherwise: an
		 * un-provisioned anchor ranges perfectly and reports nothing,
		 * which at the lock is indistinguishable from a board that never
		 * booted. */
		LOG_WRN("anchor link has no key; run `sat key <hex32>`");
	}
}
```
